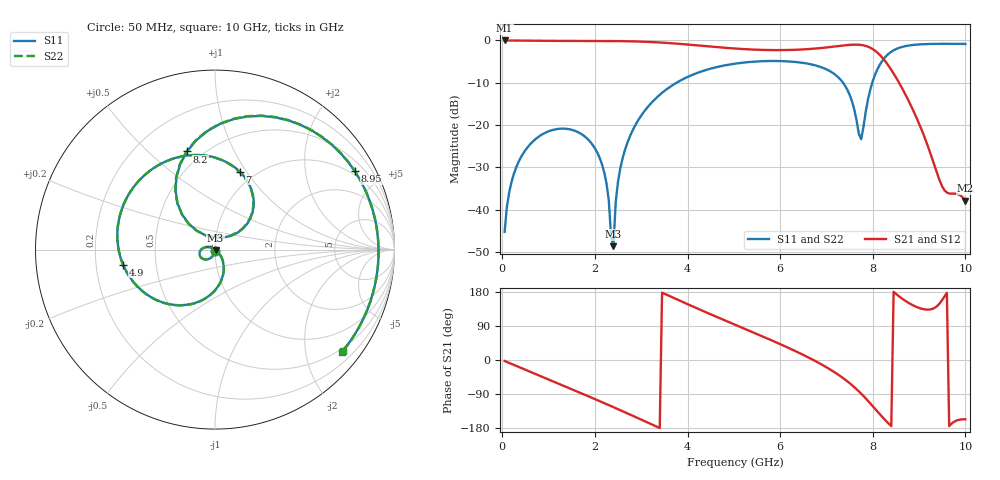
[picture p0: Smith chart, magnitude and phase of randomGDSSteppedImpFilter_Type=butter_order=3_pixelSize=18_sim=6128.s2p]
! freq	dB(S11)	phase(S11)	dB(S12)	phase(S12)
!  dB(S21)	phase(S21)	dB(S22)	phase(S22)
!S-par simulation data
#  GHz  S  DB  R 50
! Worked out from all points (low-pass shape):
!   200 points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, 50 MHz to 10 GHz, reference 50 ohm
!   highest |S21| = 0.00 dB at 50 MHz (marker M1); lowest = -37.9 dB at 10 GHz (marker M2)
!   |S21| within 3 dB of the highest: start of sweep to 8.112 GHz
!   lowest |S11| = -48.6 dB at 2.4 GHz (marker M3), VSWR 1.01, Z = 50.3 - j0.246 ohm
!   |S11| at or under -10 dB: start of sweep to 3.76 GHz; 7.358 GHz to 7.989 GHz (631.6 MHz wide, 8.23 % of centre)
!   |S22| runs from -48.6 to -0.8 dB; largest |S21 - S12| = 0
!   S11 on the Smith chart (normalised r, x): 50 MHz: 1.00, -0.01; 4.9 GHz: 0.32, -0.07; 7 GHz: 0.85, +0.93; 8.2 GHz: 0.41, +0.67; 8.95 GHz: 0.84, +3.65; 10 GHz: 0.42, -2.78
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0.05  -45.20 -91.3  -0.00 -2.6  -0.00 -2.6  -45.20 -91.3
0.2  -33.39 -99.8  -0.02 -10.4  -0.02 -10.4  -33.39 -99.8
0.55  -25.18 -118.7  -0.05 -28.4  -0.05 -28.4  -25.18 -118.8
1.75  -22.42 179.1  -0.13 -90.1  -0.13 -90.1  -22.42 178.9
2.2  -31.09 155.9  -0.14 -113.8  -0.14 -113.8  -31.09 154.7
2.4  -48.59 -41.1  -0.15 -124.5  -0.15 -124.5  -48.57 -29.1
2.5  -33.27 -41.8  -0.16 -129.9  -0.16 -129.9  -33.27 -39.8
2.65  -25.81 -49.4  -0.18 -138.0  -0.18 -138.0  -25.81 -48.5
3.4  -12.83 -90.5  -0.48 -179.5  -0.48 -179.5  -12.83 -90.1
4.2  -7.71 -134.0  -1.16 136.6  -1.16 136.6  -7.71 -133.8
4.9  -5.70 -170.7  -1.81 99.6  -1.81 99.6  -5.70 -170.4
5.05  -5.45 -178.4  -1.93 91.9  -1.93 91.9  -5.45 -178.1
6.7  -5.73 91.7  -1.97 1.1  -1.97 1.1  -5.72 92.1
7  -6.83 72.3  -1.66 -19.2  -1.66 -19.2  -6.83 72.8
7.45  -11.63 41.3  -1.10 -56.2  -1.10 -56.2  -11.62 41.9
7.75  -23.33 93.7  -1.07 -88.8  -1.07 -88.8  -23.21 94.0
7.95  -11.45 133.1  -1.74 -115.0  -1.74 -115.0  -11.45 133.3
8.2  -4.90 105.9  -3.99 -149.6  -3.99 -149.6  -4.90 106.2
8.35  -3.08 87.6  -6.13 -168.7  -6.13 -168.7  -3.08 87.9
8.95  -0.98 29.3  -18.39 139.8  -18.39 139.8  -0.98 29.7
9.5  -0.79 -9.2  -34.52 158.6  -34.52 158.6  -0.79 -8.8
10  -0.83 -38.9  -37.85 -156.5  -37.85 -156.5  -0.83 -38.5
